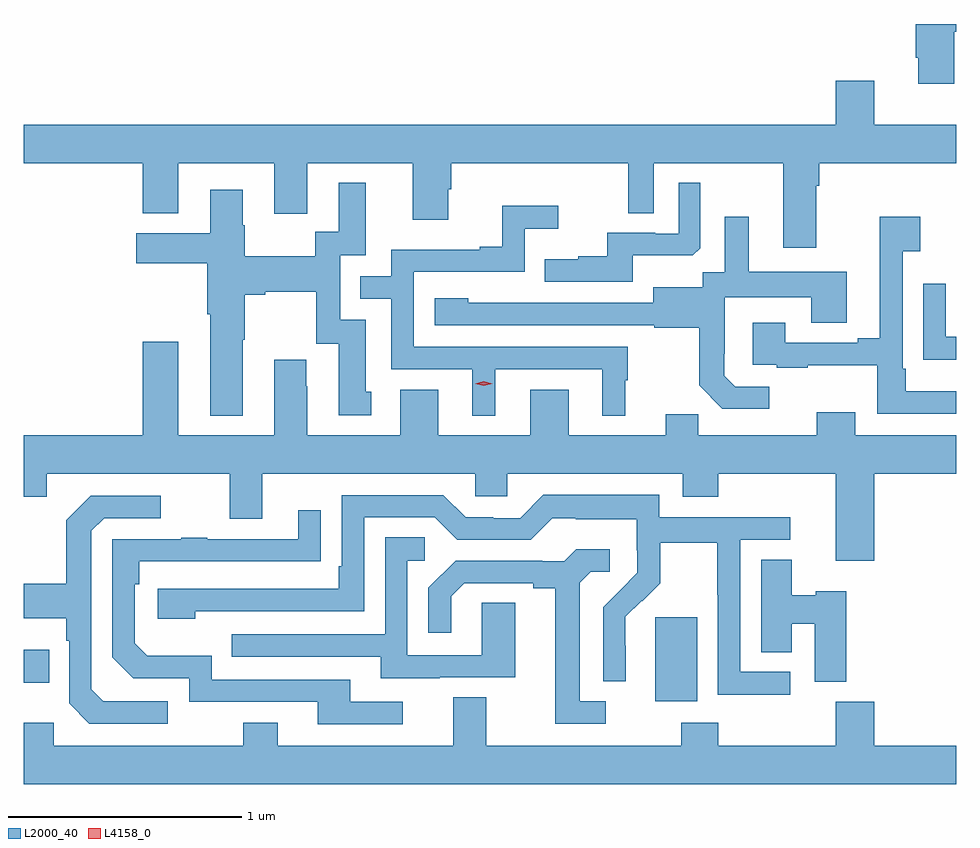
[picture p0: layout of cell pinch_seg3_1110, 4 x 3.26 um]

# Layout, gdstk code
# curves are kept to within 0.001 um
import gdstk
lib = gdstk.Library(unit=1e-6, precision=1e-09)
def R(c, l, rs):  # rectangles x0, y0, x1, y1
    for r in rs: c.add(gdstk.rectangle(r[:2], r[2:], *l))
def P(c, l, *ps):  # polygons
    for p in ps: c.add(gdstk.Polygon(p, *l))
L2000_40 = (2000, 40)
L4158_0 = (4158, 0)

pinch_seg3_1110 = lib.new_cell('pinch_seg3_1110')
R(pinch_seg3_1110, L2000_40, [(152.246,739.898,152.425,740.259), (149.536,739.979,149.645,740.119)])
P(pinch_seg3_1110, L2000_40, [(153.529,742.771),(153.536,742.771),(153.536,742.805),(153.362,742.805),(153.362,742.66),(153.374,742.66),(153.374,742.548),(153.529,742.548)],
  [(152.935,742.112),(152.948,742.112),(152.948,742.208),(153.536,742.208),(153.536,742.372),(153.184,742.372),(153.184,742.561),(153.02,742.561),(153.02,742.372),(149.536,742.372),(149.536,742.208),(150.047,742.208),(150.047,741.992),(150.199,741.992),(150.199,742.208),(150.611,742.208),(150.611,741.99),(150.751,741.99),(150.751,742.208),(151.205,742.208),(151.205,741.966),(151.357,741.966),(151.357,742.095),(151.37,742.095),(151.37,742.208),(152.13,742.208),(152.13,741.994),(152.238,741.994),(152.238,742.208),(152.795,742.208),(152.795,741.846),(152.935,741.846)],
  [(150.475,741.451),(150.483,741.451),(150.483,741.644),(150.571,741.644),(150.571,741.656),(150.791,741.656),(150.791,741.432),(150.887,741.432),(150.887,741.126),(151.027,741.126),(151.027,741.228),(151.003,741.228),(151.003,741.537),(150.894,741.537),(150.894,741.813),(151.003,741.813),(151.003,742.123),(150.887,742.123),(150.887,741.914),(150.786,741.914),(150.786,741.808),(150.483,741.808),(150.483,741.942),(150.475,741.942),(150.475,742.093),(150.335,742.093),(150.335,741.907),(150.018,741.907),(150.018,741.778),(150.323,741.778),(150.323,741.56),(150.335,741.56),(150.335,741.125),(150.475,741.125)],
  [(152.149,741.812),(152.407,741.812),(152.439,741.843),(152.439,742.123),(152.346,742.123),(152.346,741.906),(152.246,741.906),(152.246,741.909),(152.039,741.909),(152.039,741.808),(151.915,741.808),(151.915,741.796),(151.771,741.796),(151.771,741.699),(152.149,741.699)],
  [(151.558,741.324),(152.018,741.324),(152.018,741.125),(152.116,741.125),(152.116,741.276),(152.128,741.276),(152.128,741.42),(151.209,741.42),(151.209,741.741),(151.686,741.741),(151.686,741.926),(151.828,741.926),(151.828,742.025),(151.588,742.025),(151.588,741.85),(151.493,741.85),(151.493,741.837),(151.113,741.837),(151.113,741.723),(150.979,741.723),(150.979,741.627),(151.113,741.627),(151.113,741.324),(151.46,741.324),(151.46,741.125),(151.558,741.125)],
  [(152.734,741.249),(152.589,741.249),(152.542,741.296),(152.542,741.391),(152.544,741.391),(152.544,741.632),(152.915,741.632),(152.915,741.523),(153.067,741.523),(153.067,741.742),(152.647,741.742),(152.647,741.979),(152.543,741.979),(152.543,741.74),(152.448,741.74),(152.448,741.676),(152.237,741.676),(152.237,741.609),(151.443,741.61),(151.443,741.628),(151.299,741.628),(151.299,741.513),(152.241,741.513),(152.241,741.501),(152.433,741.501),(152.433,741.255),(152.533,741.155),(152.734,741.155)],
  [(153.536,741.229),(153.319,741.229),(153.319,741.325),(153.306,741.325),(153.306,741.83),(153.382,741.83),(153.382,741.979),(153.209,741.979),(153.209,741.457),(153.113,741.457),(153.113,741.438),(152.803,741.438),(152.803,741.523),(152.663,741.523),(152.663,741.342),(152.767,741.342),(152.767,741.33),(152.899,741.33),(152.899,741.341),(153.198,741.341),(153.198,741.132),(153.536,741.132)],
  [(153.536,741.462),(153.492,741.462),(153.492,741.691),(153.396,741.691),(153.396,741.365),(153.536,741.365)],
  [(153.184,740.876),(153.536,740.876),(153.536,741.04),(153.103,741.04),(153.103,741.139),(152.939,741.139),(152.939,741.04),(152.429,741.04),(152.429,741.131),(152.291,741.131),(152.291,741.04),(151.873,741.04),(151.873,741.235),(151.709,741.235),(151.709,741.04),(151.315,741.04),(151.315,741.235),(151.151,741.235),(151.151,741.04),(150.751,741.04),(150.751,741.251),(150.748,741.251),(150.748,741.364),(150.611,741.364),(150.611,741.04),(150.199,741.04),(150.199,741.442),(150.047,741.442),(150.047,741.04),(149.536,741.04),(149.536,740.777),(149.635,740.777),(149.635,740.876),(150.419,740.876),(150.419,740.682),(150.559,740.682),(150.559,740.876),(151.473,740.876),(151.473,740.778),(151.611,740.778),(151.611,740.876),(152.363,740.876),(152.363,740.777),(152.516,740.777),(152.516,740.876),(153.02,740.876),(153.02,740.502),(153.184,740.502)],
  [(152.824,740.025),(152.61,740.025),(152.61,740.592),(152.824,740.592),(152.824,740.688),(152.262,740.688),(152.262,740.785),(151.765,740.785),(151.665,740.685),(151.55,740.685),(151.55,740.688),(151.431,740.688),(151.335,740.784),(150.9,740.784),(150.9,740.479),(150.887,740.479),(150.887,740.382),(150.111,740.382),(150.111,740.252),(150.272,740.252),(150.272,740.286),(150.996,740.286),(150.996,740.688),(151.299,740.688),(151.395,740.592),(151.71,740.592),(151.803,740.685),(151.903,740.685),(151.903,740.681),(152.166,740.681),(152.166,740.547),(152.168,740.547),(152.168,740.45),(152.022,740.302),(152.022,739.984),(152.118,739.984),(152.117,740.261),(152.187,740.331),(152.19,740.328),(152.267,740.405),(152.267,740.58),(152.512,740.58),(152.512,740.356),(152.514,740.356),(152.514,739.927),(152.824,739.927)],
  [(150.154,739.899),(149.877,739.899),(149.826,739.95),(149.826,740.631),(149.88,740.685),(150.124,740.685),(150.124,740.781),(149.823,740.781),(149.718,740.675),(149.718,740.403),(149.536,740.403),(149.536,740.255),(149.718,740.255),(149.718,740.159),(149.73,740.159),(149.73,739.89),(149.817,739.803),(150.154,739.803)],
  [(151.162,739.896),(150.937,739.896),(150.937,739.992),(150.342,739.992),(150.342,740.095),(150.065,740.095),(150.012,740.148),(150.012,740.402),(150.032,740.402),(150.032,740.499),(150.809,740.5),(150.809,740.719),(150.713,740.719),(150.713,740.595),(150.323,740.595),(150.323,740.6),(150.211,740.6),(150.211,740.595),(149.916,740.595),(149.916,740.088),(150.006,739.998),(150.246,739.998),(150.246,739.896),(150.797,739.896),(150.797,739.8),(151.162,739.8)],
  [(151.321,740.001),(151.645,740.001),(151.645,740.321),(151.5,740.321),(151.5,740.097),(151.182,740.097),(151.182,740.502),(151.255,740.502),(151.255,740.603),(151.086,740.603),(151.086,740.187),(150.427,740.187),(150.427,740.091),(151.067,740.091),(151.067,739.997),(151.321,739.997)],
  [(152.032,739.899),(151.921,739.899),(151.921,740.407),(151.968,740.454),(152.05,740.454),(152.05,740.551),(151.906,740.551),(151.854,740.499),(151.76,740.499),(151.76,740.502),(151.388,740.502),(151.272,740.386),(151.272,740.193),(151.369,740.193),(151.369,740.349),(151.426,740.406),(151.721,740.406),(151.721,740.384),(151.817,740.384),(151.817,739.803),(152.032,739.803)],
  [(153.065,740.371),(152.934,740.371),(152.934,740.353),(152.83,740.353),(152.83,740.507),(152.699,740.507),(152.699,740.11),(152.83,740.11),(152.83,740.231),(152.93,740.231),(152.93,739.983),(153.065,739.983)],
  [(153.536,739.708),(153.184,739.708),(153.184,739.897),(153.02,739.897),(153.02,739.708),(152.516,739.708),(152.516,739.807),(152.356,739.807),(152.356,739.708),(151.519,739.708),(151.519,739.916),(151.379,739.916),(151.379,739.708),(150.625,739.708),(150.625,739.807),(150.478,739.807),(150.478,739.708),(149.664,739.708),(149.664,739.807),(149.536,739.807),(149.536,739.544),(153.536,739.544)])
P(pinch_seg3_1110, L4158_0, [(151.509,741.252),(151.473,741.261),(151.473,741.261),(151.473,741.261),(151.509,741.272),(151.545,741.262),(151.545,741.262),(151.545,741.262)])

lib.write_gds('pinch_seg3_1110.gds')
